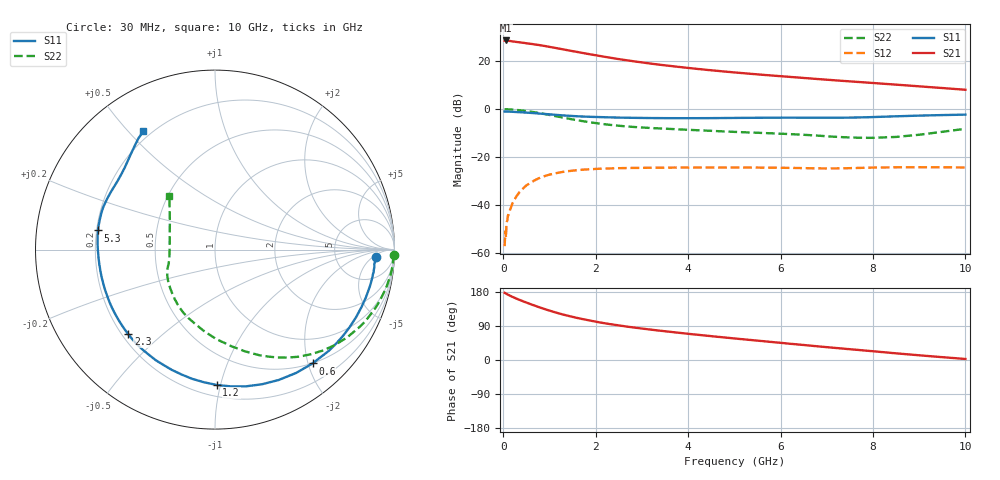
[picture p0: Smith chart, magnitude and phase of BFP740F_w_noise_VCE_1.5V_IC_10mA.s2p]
! Infineon Technologies  Discrete & RF Semiconductors
! BFP740F
! VCE =  1.5 V,  IC =  10 mA
! Common Emitter S-Parameters:  Oct 2012
# GHz  S  MA  R  50
!  f  S11  S21  S12  S22
! GHz  MAG  ANG  MAG  ANG  MAG  ANG  MAG  ANG
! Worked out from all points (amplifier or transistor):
!   99 points, 30 MHz to 10 GHz, reference 50 ohm
!   highest |S21| = 28.6 dB at 50 MHz (marker M1)
!   |S21| within 3 dB of that: start of sweep to 1.096 GHz
!   unconditionally stable (mu >= 1): 6.675 GHz to end of sweep
!   at 350 MHz: K = 0.08, MSG = 31.2 dB, |S12| = -34.6 dB
!   at 3.5 GHz: K = 0.49, MSG = 21.3 dB, |S12| = -24.4 dB
!   at 10 GHz: K = 1.29, MAG = 12.9 dB, |S12| = -24.3 dB
!   lowest NFmin = 0.44 dB at 450 MHz
!   S11 on the Smith chart (normalised r, x): 30 MHz: 16, -6; 600 MHz: 0.50, -2.08; 1.2 GHz: 0.28, -0.97; 2.3 GHz: 0.22, -0.39; 5.3 GHz: 0.21, +0.08; 10 GHz: 0.17, +0.55
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0.03  0.8954 -2.6  26.8 177.3  0.0014 82.0  0.9952 -1.7
0.05  0.8941 -4.4  27.02 176.0  0.0029 94.0  0.9958 -2.9
0.06  0.8913 -5.3  26.96 175.4  0.0021 84.2  0.9937 -3.5
0.15  0.887 -13.2  26.28 169.4  0.0081 81.5  0.9859 -9.0
0.25  0.8766 -21.6  25.48 163.9  0.0134 78.7  0.9698 -14.7
0.45  0.8545 -37.7  24.01 153.9  0.0232 69.4  0.9278 -25.5
0.6  0.8352 -49.4  22.95 147.0  0.0297 63.1  0.8854 -33.3
0.8  0.8084 -64.0  21.49 138.3  0.0374 55.6  0.8245 -42.9
0.9  0.7946 -70.8  20.69 134.3  0.0405 51.9  0.791 -47.5
1.2  0.7541 -89.3  18.32 123.2  0.0477 42.6  0.6958 -59.8
1.5  0.7204 -105.0  16.2 113.8  0.0524 35.4  0.612 -70.5
1.7  0.7037 -114.2  14.95 108.4  0.0547 31.6  0.5671 -76.8
2.1  0.6839 -129.5  12.79 98.9  0.0575 25.1  0.4987 -89.1
2.3  0.6751 -135.7  11.88 94.9  0.0583 22.5  0.4727 -94.2
2.8  0.6607 -148.6  10.02 86.2  0.0597 17.7  0.4279 -105.1
3.4  0.6518 -160.8  8.409 77.2  0.0604 13.5  0.3964 -115.5
4.1  0.6499 -172.5  7.071 67.9  0.0608 9.8  0.3682 -124.7
5.1  0.6584 173.3  5.722 55.7  0.0608 6.0  0.3338 -137.3
5.3  0.6601 170.7  5.513 53.4  0.0607 5.3  0.328 -139.9
6.7  0.6633 152.7  4.321 37.3  0.0587 2.3  0.2853 -158.0
8.5  0.7104 131.2  3.245 17.6  0.0616 2.0  0.2642 162.8
10  0.7698 121.2  2.538 2.7  0.0611 -0.9  0.3904 130.7
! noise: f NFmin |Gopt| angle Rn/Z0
0.45  0.44  0.22  5  0.24
0.9  0.49  0.22  12  0.16
1.5  0.57  0.22  23  0.1
1.9  0.61  0.21  31  0.07
2.4  0.66  0.21  42  0.06
3.5  0.78  0.18  66  0.09
5.5  0.98  0.1  127  0.1
10  1.39  0.38  -118  0.09
